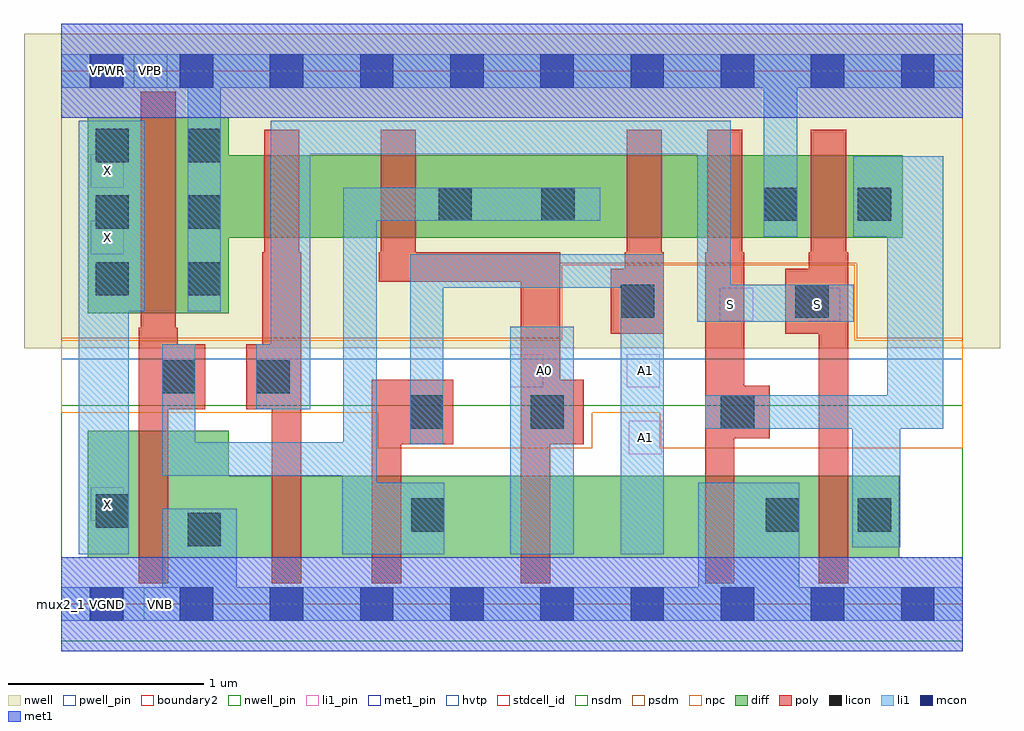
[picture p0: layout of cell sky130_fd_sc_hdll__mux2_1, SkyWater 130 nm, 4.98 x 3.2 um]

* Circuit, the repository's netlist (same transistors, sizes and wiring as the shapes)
* Copyright 2020 The SkyWater PDK Authors
*
* Licensed under the Apache License, Version 2.0 (the "License");
* you may not use this file except in compliance with the License.
* You may obtain a copy of the License at
*
*     https://www.apache.org/licenses/LICENSE-2.0
*
* Unless required by applicable law or agreed to in writing, software
* distributed under the License is distributed on an "AS IS" BASIS,
* WITHOUT WARRANTIES OR CONDITIONS OF ANY KIND, either express or implied.
* See the License for the specific language governing permissions and
* limitations under the License.
*
* SPDX-License-Identifier: Apache-2.0

.SUBCKT sky130_fd_sc_hdll__mux2_1 A0 A1 S VGND VNB VPB VPWR X
*.PININFO A0:I A1:I S:I VGND:I VNB:I VPB:I VPWR:I X:O
MMNA00 xb A0 smdNA0 VNB sky130_fd_pr__nfet_01v8 m=1 w=0.42U l=0.15U mult=1 sa=0.265
+ sb=0.265 sd=0.28 area=0.063 perim=1.14
MMNA01 smdNA0 Sb VGND VNB sky130_fd_pr__nfet_01v8 m=1 w=0.42U l=0.15U mult=1 sa=0.265
+ sb=0.265 sd=0.28 area=0.063 perim=1.14
MMNA10 xb A1 sndNA1 VNB sky130_fd_pr__nfet_01v8 m=1 w=0.42U l=0.15U mult=1 sa=0.265
+ sb=0.265 sd=0.28 area=0.063 perim=1.14
MMNA11 sndNA1 S VGND VNB sky130_fd_pr__nfet_01v8 m=1 w=0.42U l=0.15U mult=1 sa=0.265
+ sb=0.265 sd=0.28 area=0.063 perim=1.14
MMIN1 Sb S VGND VNB sky130_fd_pr__nfet_01v8 m=1 w=0.42U l=0.15U mult=1 sa=0.265
+ sb=0.265 sd=0.28 area=0.063 perim=1.14
MMIN2 X xb VGND VNB sky130_fd_pr__nfet_01v8 m=1 w=0.65U l=0.15U mult=1 sa=0.265
+ sb=0.265 sd=0.28 area=0.063 perim=1.14
MMPA00 VPWR S sndPS VPB sky130_fd_pr__pfet_01v8_hvt m=1 w=0.42U l=0.18U mult=1
+ sa=0.265 sb=0.265 sd=0.28 area=0.063 perim=1.14
MMPA01 sndPS A0 xb VPB sky130_fd_pr__pfet_01v8_hvt m=1 w=0.42U l=0.18U mult=1 sa=0.265
+ sb=0.265 sd=0.28 area=0.063 perim=1.14
MMPA10 VPWR Sb sndPSb VPB sky130_fd_pr__pfet_01v8_hvt m=1 w=0.42U l=0.18U mult=1
+ sa=0.265 sb=0.265 sd=0.28 area=0.063 perim=1.14
MMPA11 sndPSb A1 xb VPB sky130_fd_pr__pfet_01v8_hvt m=1 w=0.42U l=0.18U mult=1
+ sa=0.265 sb=0.265 sd=0.28 area=0.063 perim=1.14
MMIP1 Sb S VPWR VPB sky130_fd_pr__pfet_01v8_hvt m=1 w=0.42U l=0.18U mult=1 sa=0.265
+ sb=0.265 sd=0.28 area=0.063 perim=1.14
MMIP2 X xb VPWR VPB sky130_fd_pr__pfet_01v8_hvt m=1 w=1.0U l=0.18U mult=1 sa=0.265
+ sb=0.265 sd=0.28 area=0.063 perim=1.14
.ENDS sky130_fd_sc_hdll__mux2_1

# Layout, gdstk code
import gdstk
lib = gdstk.Library(unit=1e-6, precision=1e-09)
def R(c, l, rs):  # rectangles x0, y0, x1, y1
    for r in rs: c.add(gdstk.rectangle(r[:2], r[2:], *l))
def A(c, l, x, y, w, h, nx, ny, dx, dy):  # array of equal rectangles
    R(c, l, [(x+i*dx, y+j*dy, x+i*dx+w, y+j*dy+h) for i in range(nx) for j in range(ny)])
def P(c, l, *ps):  # polygons
    for p in ps: c.add(gdstk.Polygon(p, *l))
nwell_pin = (64, 16)
nwell = (64, 20)
diff = (65, 20)
poly = (66, 20)
licon = (66, 44)
li1_pin = (67, 16)
li1 = (67, 20)
mcon = (67, 44)
met1_pin = (68, 16)
met1 = (68, 20)
hvtp = (78, 44)
stdcell_id = (81, 4)
nsdm = (93, 44)
psdm = (94, 20)
npc = (95, 20)
pwell_pin = (122, 16)
boundary2 = (236, 0)

sky130_fd_sc_hdll__mux2_ = lib.new_cell('sky130_fd_sc_hdll__mux2_1')
R(sky130_fd_sc_hdll__mux2_, nwell_pin, [(0.37,2.635,0.54,2.805)])
R(sky130_fd_sc_hdll__mux2_, nwell, [(-0.19,1.305,4.79,2.91)])
P(sky130_fd_sc_hdll__mux2_, diff, [(4.275,0.655),(0.855,0.655),(0.855,0.885),(0.135,0.885),(0.135,0.235),(4.275,0.235)],
  [(4.295,2.29),(0.855,2.29),(0.855,2.485),(0.135,2.485),(0.135,1.485),(0.855,1.485),(0.855,1.87),(4.295,1.87)])
P(sky130_fd_sc_hdll__mux2_, poly, [(0.735,1.325),(0.595,1.325),(0.595,1.41),(0.585,1.41),(0.585,2.615),(0.405,2.615),(0.405,1.41),(0.395,1.41),(0.395,0.105),(0.545,0.105),(0.545,0.995),(0.735,0.995)],
  [(1.225,1.795),(1.215,1.795),(1.215,2.42),(1.035,2.42),(1.035,1.795),(1.025,1.795),(1.025,1.325),(0.945,1.325),(0.945,0.995),(1.075,0.995),(1.075,0.105),(1.225,0.105)],
  [(2,1.145),(1.585,1.145),(1.585,0.105),(1.735,0.105),(1.735,0.815),(2,0.815)],
  [(2.665,1.145),(2.545,1.145),(2.545,1.795),(1.81,1.795),(1.81,2.42),(1.63,2.42),(1.63,1.795),(1.62,1.795),(1.62,1.645),(2.345,1.645),(2.345,0.105),(2.495,0.105),(2.495,0.815),(2.665,0.815)],
  [(3.075,1.795),(3.065,1.795),(3.065,2.42),(2.885,2.42),(2.885,1.795),(2.875,1.795),(2.875,1.71),(2.805,1.71),(2.805,1.38),(3.075,1.38)],
  [(3.615,1.115),(3.485,1.115),(3.485,1.795),(3.475,1.795),(3.475,2.42),(3.295,2.42),(3.295,1.795),(3.285,1.795),(3.285,0.105),(3.435,0.105),(3.435,0.845),(3.615,0.845)],
  [(4.015,1.795),(4.005,1.795),(4.005,2.42),(3.825,2.42),(3.825,1.795),(3.815,1.795),(3.815,1.71),(3.695,1.71),(3.695,1.38),(3.865,1.38),(3.865,0.105),(4.015,0.105)])
A(sky130_fd_sc_hdll__mux2_, licon, 0.175, 1.575, 0.17, 0.17, 1, 3, 0, 0.34)
A(sky130_fd_sc_hdll__mux2_, licon, 0.645, 1.575, 0.17, 0.17, 1, 3, 0, 0.34)
R(sky130_fd_sc_hdll__mux2_, licon, [(0.645,0.295,0.815,0.465), (1.785,0.37,1.955,0.54), (3.595,0.37,3.765,0.54), (4.065,0.37,4.235,0.54), (0.175,0.39,0.345,0.56), (1.78,0.895,1.95,1.065), (2.395,0.895,2.565,1.065), (3.365,0.895,3.535,1.065), (0.515,1.075,0.685,1.245), (0.995,1.075,1.165,1.245), (2.855,1.46,3.025,1.63), (3.745,1.46,3.915,1.63), (1.925,1.955,2.095,2.125), (2.45,1.955,2.62,2.125), (3.585,1.955,3.755,2.125), (4.065,1.955,4.235,2.125)])
R(sky130_fd_sc_hdll__mux2_, li1_pin, [(0.15,0.425,0.32,0.595), (2.895,0.765,3.065,0.935), (2.29,1.105,2.46,1.275), (2.885,1.105,3.055,1.275), (3.36,1.445,3.53,1.615), (3.805,1.445,3.975,1.615), (0.15,1.785,0.32,1.955), (0.15,2.125,0.32,2.295)])
R(sky130_fd_sc_hdll__mux2_, li1, [(2.29,0.255,2.615,1.415)])
P(sky130_fd_sc_hdll__mux2_, li1, [(4.6,0.085),(3.765,0.085),(3.765,0.62),(3.25,0.62),(3.25,0.085),(0.895,0.085),(0.895,0.485),(0.515,0.485),(0.515,0.085),(0,0.085),(0,-0.085),(4.6,-0.085)],
  [(4.6,2.805),(0,2.805),(0,2.635),(0.645,2.635),(0.645,1.495),(0.815,1.495),(0.815,2.635),(3.585,2.635),(3.585,1.875),(3.755,1.875),(3.755,2.635),(4.6,2.635)],
  [(0.425,2.465),(0.09,2.465),(0.09,0.255),(0.345,0.255),(0.345,1.495),(0.425,1.495)],
  [(2.75,2.125),(1.44,2.125),(1.44,0.825),(0.685,0.825),(0.685,1.325),(0.515,1.325),(0.515,0.655),(1.435,0.655),(1.435,0.255),(1.955,0.255),(1.955,0.62),(1.61,0.62),(1.61,1.955),(2.75,1.955)],
  [(3.075,1.785),(1.78,1.785),(1.78,0.815),(1.95,0.815),(1.95,1.615),(2.855,1.615),(2.855,0.255),(3.075,0.255)],
  [(4.045,1.63),(3.415,1.63),(3.415,2.465),(1.07,2.465),(1.07,1.325),(0.995,1.325),(0.995,0.995),(1.27,0.995),(1.27,2.295),(3.245,2.295),(3.245,1.44),(4.045,1.44)],
  [(4.5,2.285),(4.04,2.285),(4.04,1.875),(4.215,1.875),(4.215,1.065),(3.285,1.065),(3.285,0.895),(4.035,0.895),(4.035,0.29),(4.28,0.29),(4.28,0.895),(4.5,0.895)])
A(sky130_fd_sc_hdll__mux2_, mcon, 0.145, -0.085, 0.17, 0.17, 10, 2, 0.46, 2.72)
R(sky130_fd_sc_hdll__mux2_, met1_pin, [(0.15,-0.085,0.32,0.085), (0.15,2.635,0.32,2.805)])
R(sky130_fd_sc_hdll__mux2_, met1, [(0,-0.24,4.6,0.24), (0,2.48,4.6,2.96)])
R(sky130_fd_sc_hdll__mux2_, hvtp, [(0,1.25,4.6,2.72)])
R(sky130_fd_sc_hdll__mux2_, stdcell_id, [(0,0,4.6,2.72)])
R(sky130_fd_sc_hdll__mux2_, nsdm, [(0,-0.19,4.6,1.015)])
P(sky130_fd_sc_hdll__mux2_, psdm, [(4.6,2.91),(0,2.91),(0,1.355),(2.545,1.355),(2.545,1.74),(4.06,1.74),(4.06,1.355),(4.6,1.355)])
P(sky130_fd_sc_hdll__mux2_, npc, [(4.6,1.345),(4.05,1.345),(4.05,1.73),(2.555,1.73),(2.555,1.345),(0,1.345),(0,0.975),(1.615,0.975),(1.615,0.795),(2.71,0.795),(2.71,0.975),(3.055,0.975),(3.055,0.795),(4.6,0.795)])
R(sky130_fd_sc_hdll__mux2_, pwell_pin, [(0.42,-0.085,0.64,0.085)])
R(sky130_fd_sc_hdll__mux2_, boundary2, [(0,0,4.6,2.72)])
sky130_fd_sc_hdll__mux2_.add(gdstk.Label('VGND', (0.235,0), layer=68, texttype=5))
sky130_fd_sc_hdll__mux2_.add(gdstk.Label('VPWR', (0.235,2.72), layer=68, texttype=5))
sky130_fd_sc_hdll__mux2_.add(gdstk.Label('S', (3.415,1.53), layer=67, texttype=5))
sky130_fd_sc_hdll__mux2_.add(gdstk.Label('A1', (2.98,0.85), layer=67, texttype=5))
sky130_fd_sc_hdll__mux2_.add(gdstk.Label('A1', (2.98,1.19), layer=67, texttype=5))
sky130_fd_sc_hdll__mux2_.add(gdstk.Label('A0', (2.465,1.19), layer=67, texttype=5))
sky130_fd_sc_hdll__mux2_.add(gdstk.Label('X', (0.235,0.51), layer=67, texttype=5))
sky130_fd_sc_hdll__mux2_.add(gdstk.Label('X', (0.235,1.87), layer=67, texttype=5))
sky130_fd_sc_hdll__mux2_.add(gdstk.Label('X', (0.235,2.21), layer=67, texttype=5))
sky130_fd_sc_hdll__mux2_.add(gdstk.Label('S', (3.86,1.53), layer=67, texttype=5))
sky130_fd_sc_hdll__mux2_.add(gdstk.Label('VPB', (0.455,2.72), layer=64, texttype=5))
sky130_fd_sc_hdll__mux2_.add(gdstk.Label('VNB', (0.505,0), layer=64, texttype=59))
sky130_fd_sc_hdll__mux2_.add(gdstk.Label('mux2_1', (0,0), layer=83, texttype=44))

lib.write_gds('sky130_fd_sc_hdll__mux2_1.gds')
